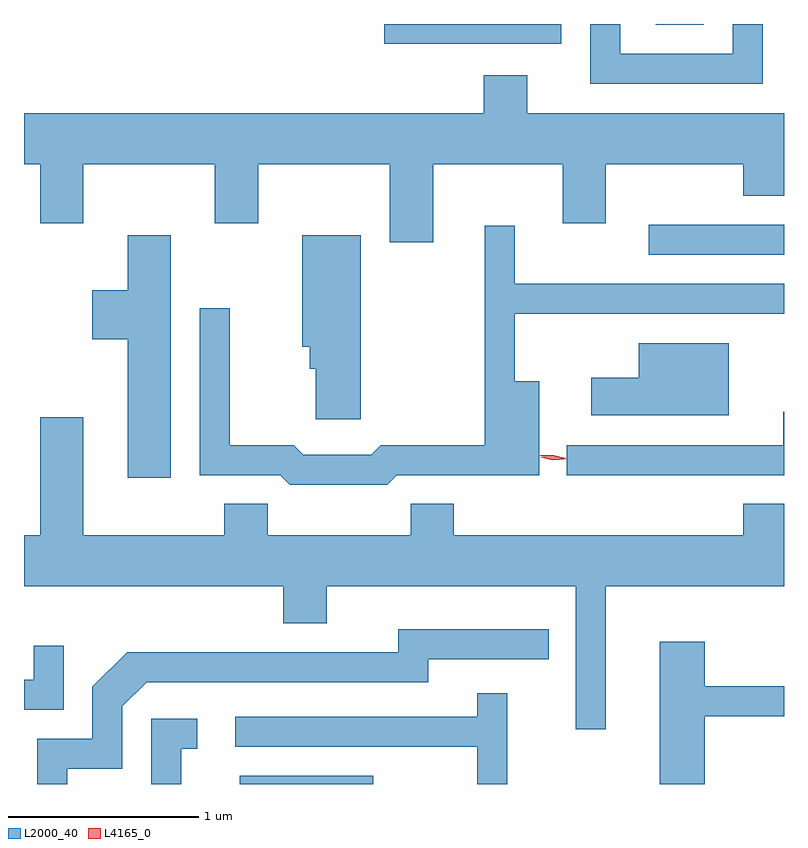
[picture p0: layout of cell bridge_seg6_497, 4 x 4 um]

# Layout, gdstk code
import gdstk
lib = gdstk.Library(unit=1e-6, precision=1e-09)
def R(c, l, rs):  # rectangles x0, y0, x1, y1
    for r in rs: c.add(gdstk.rectangle(r[:2], r[2:], *l))
def P(c, l, *ps):  # polygons
    for p in ps: c.add(gdstk.Polygon(p, *l))
L2000_40 = (2000, 40)
L4165_0 = (4165, 0)

bridge_seg6_497 = lib.new_cell('bridge_seg6_497')
R(bridge_seg6_497, L2000_40, [(904.946,1544.555,905.648,1544.599), (907.098,1547.341,907.811,1547.499), (905.706,1548.451,906.639,1548.555), (907.136,1548.551,907.389,1548.555)])
P(bridge_seg6_497, L2000_40, [(907.699,1548.555),(907.541,1548.555),(907.541,1548.399),(906.949,1548.399),(906.949,1548.555),(906.791,1548.555),(906.791,1548.241),(907.699,1548.241)],
  [(905.964,1547.816),(906.646,1547.816),(906.646,1547.506),(906.874,1547.506),(906.874,1547.816),(907.596,1547.816),(907.596,1547.651),(907.811,1547.651),(907.811,1548.084),(906.459,1548.084),(906.459,1548.284),(906.231,1548.284),(906.231,1548.084),(903.811,1548.084),(903.811,1547.816),(903.896,1547.816),(903.896,1547.506),(904.124,1547.506),(904.124,1547.816),(904.816,1547.816),(904.816,1547.506),(905.044,1547.506),(905.044,1547.816),(905.736,1547.816),(905.736,1547.406),(905.964,1547.406)],
  [(905.772,1546.181),(906.524,1546.181),(906.524,1546.674),(906.394,1546.674),(906.394,1547.031),(907.811,1547.031),(907.811,1547.189),(906.394,1547.189),(906.394,1547.493),(906.236,1547.493),(906.236,1546.339),(905.689,1546.339),(905.639,1546.289),(905.282,1546.289),(905.232,1546.339),(904.894,1546.339),(904.894,1547.058),(904.736,1547.058),(904.736,1546.181),(905.159,1546.181),(905.209,1546.131),(905.722,1546.131)],
  [(904.584,1547.444),(904.356,1547.444),(904.356,1547.154),(904.171,1547.154),(904.171,1546.896),(904.356,1546.896),(904.356,1546.166),(904.584,1546.166)],
  [(905.584,1547.444),(905.276,1547.444),(905.276,1546.856),(905.316,1546.856),(905.316,1546.741),(905.346,1546.741),(905.346,1546.476),(905.584,1546.476)],
  [(907.519,1546.874),(907.046,1546.874),(907.046,1546.694),(906.796,1546.694),(906.796,1546.496),(907.519,1546.496)],
  [(907.811,1546.514),(907.806,1546.514),(907.806,1546.339),(906.668,1546.339),(906.668,1546.181),(907.811,1546.181)],
  [(906.874,1545.596),(907.811,1545.596),(907.811,1546.029),(907.596,1546.029),(907.596,1545.864),(906.074,1545.864),(906.074,1546.029),(905.846,1546.029),(905.846,1545.864),(905.094,1545.864),(905.094,1546.029),(904.866,1546.029),(904.866,1545.864),(904.124,1545.864),(904.124,1546.484),(903.896,1546.484),(903.896,1545.864),(903.811,1545.864),(903.811,1545.596),(905.176,1545.596),(905.176,1545.401),(905.404,1545.401),(905.404,1545.596),(906.716,1545.596),(906.716,1544.843),(906.874,1544.843)],
  [(904.039,1544.636),(904.329,1544.636),(904.329,1544.964),(904.457,1545.091),(905.939,1545.091),(905.939,1545.211),(906.573,1545.211),(906.573,1545.369),(905.781,1545.369),(905.781,1545.249),(904.354,1545.249),(904.171,1545.067),(904.171,1544.794),(903.881,1544.794),(903.881,1544.555),(904.039,1544.555)],
  [(907.394,1544.911),(907.811,1544.911),(907.811,1545.069),(907.394,1545.069),(907.394,1545.304),(907.156,1545.304),(907.156,1544.555),(907.394,1544.555)],
  [(904.019,1545.283),(903.861,1545.283),(903.861,1545.104),(903.811,1545.104),(903.811,1544.946),(904.019,1544.946)],
  [(906.354,1545.033),(906.196,1545.033),(906.196,1544.909),(904.923,1544.909),(904.923,1544.751),(906.196,1544.751),(906.196,1544.555),(906.354,1544.555)],
  [(904.639,1544.741),(904.723,1544.741),(904.723,1544.899),(904.481,1544.899),(904.481,1544.555),(904.639,1544.555)])
P(bridge_seg6_497, L4165_0, [(906.596,1546.266),(906.528,1546.283),(906.528,1546.283),(906.528,1546.284),(906.598,1546.286),(906.665,1546.27),(906.666,1546.27),(906.665,1546.269)],
  [(906.595,1546.26),(906.531,1546.274),(906.53,1546.275),(906.531,1546.275),(906.597,1546.28),(906.662,1546.265),(906.662,1546.264),(906.662,1546.264)])

lib.write_gds('bridge_seg6_497.gds')
